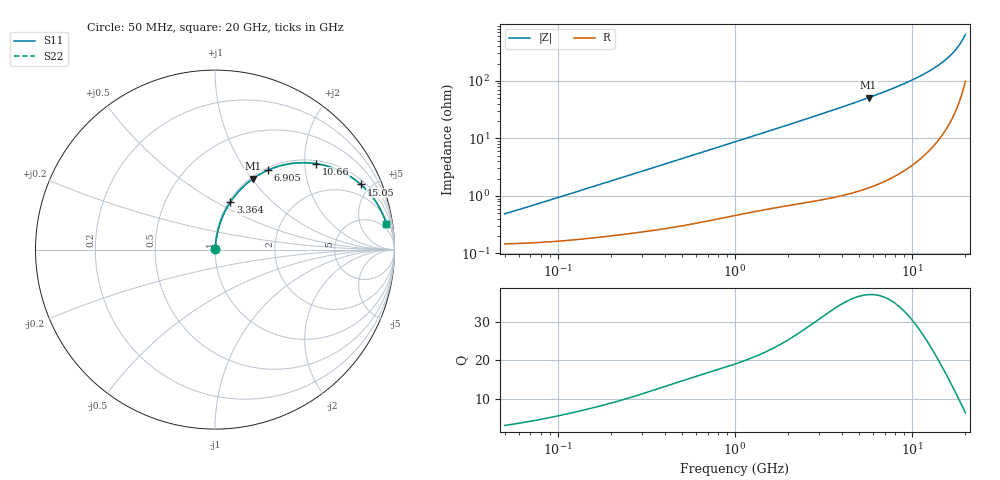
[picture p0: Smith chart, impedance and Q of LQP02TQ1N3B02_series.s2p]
!Murata Part Number: LQP02TQ1N3B02
!These Parameters are Measured in Series Mode Connection
!  o--[Z]--o
!Port1  Port2
!  o-------o
!Freq. Start=50[MHz] Stop=20[GHz], 401[Steps]
# Hz S RI R 50
!Freq.(Hz) S11(Real) S11(Imag) S21(Real) S21(Imag) S12(Real) S12(Imag) S22(Real) S22(Imag)
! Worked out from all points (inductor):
!   401 points, 50 MHz to 20 GHz, reference 50 ohm
!   read as one part in series: L = 1.48 nH near 51.52 MHz
!   highest Q = 37 at 5.683 GHz (marker M1), where L = 1.43 nH
!   S11 on the Smith chart (normalised r, x): 50 MHz: 1.00, +0.01; 3.364 GHz: 1.02, +0.58; 6.905 GHz: 1.04, +1.28; 10.66 GHz: 1.08, +2.27; 15.05 GHz: 1.25, +4.34; 20 GHz: 3, +13
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5e7  0.00148 0.00463  0.9985 -0.00463  0.9985 -0.00463  0.00148 0.00463
1.364002e8  0.00193 0.0124  0.9981 -0.0124  0.9981 -0.0124  0.00193 0.0124
3.721004e8  0.00368 0.0329  0.9963 -0.0329  0.9963 -0.0329  0.00368 0.0329
6.285508e8  0.00643 0.0547  0.9936 -0.0547  0.9936 -0.0547  0.00643 0.0547
1e9  0.0119 0.0855  0.9881 -0.0855  0.9881 -0.0855  0.0119 0.0855
1.689197e9  0.0265 0.1407  0.9735 -0.1407  0.9735 -0.1407  0.0265 0.1407
2.728004e9  0.0589 0.2191  0.9411 -0.2191  0.9411 -0.2191  0.0589 0.2191
3.364474e9  0.0849 0.2637  0.9151 -0.2637  0.9151 -0.2637  0.0849 0.2637
4.472136e9  0.1401 0.3334  0.8599 -0.3334  0.8599 -0.3334  0.1401 0.3334
5.683258e9  0.2125 0.3958  0.7875 -0.3958  0.7875 -0.3958  0.2125 0.3958
6.905011e9  0.2944 0.4423  0.7056 -0.4423  0.7056 -0.4423  0.2944 0.4423
7.442007e9  0.3322 0.4572  0.6678 -0.4572  0.6678 -0.4572  0.3322 0.4572
9.041845e9  0.4473 0.4822  0.5527 -0.4822  0.5527 -0.4822  0.4473 0.4822
1.066139e10  0.5613 0.4792  0.4387 -0.4792  0.4387 -0.4792  0.5613 0.4792
1.276073e10  0.6947 0.4397  0.3053 -0.4397  0.3053 -0.4397  0.6947 0.4397
1.396067e10  0.7604 0.403  0.2396 -0.403  0.2396 -0.403  0.7604 0.403
1.504638e10  0.8122 0.3633  0.1878 -0.3633  0.1878 -0.3633  0.8122 0.3633
1.621653e10  0.8596 0.3154  0.1404 -0.3154  0.1404 -0.3154  0.8596 0.3154
1.747767e10  0.9009 0.2599  0.0991 -0.2599  0.0991 -0.2599  0.9009 0.2599
1.828096e10  0.9221 0.2233  0.0779 -0.2233  0.0779 -0.2233  0.9221 0.2233
1.940974e10  0.9455 0.1713  0.0545 -0.1713  0.0545 -0.1713  0.9455 0.1713
2e10  0.9549 0.144  0.0451 -0.144  0.0451 -0.144  0.9549 0.144
